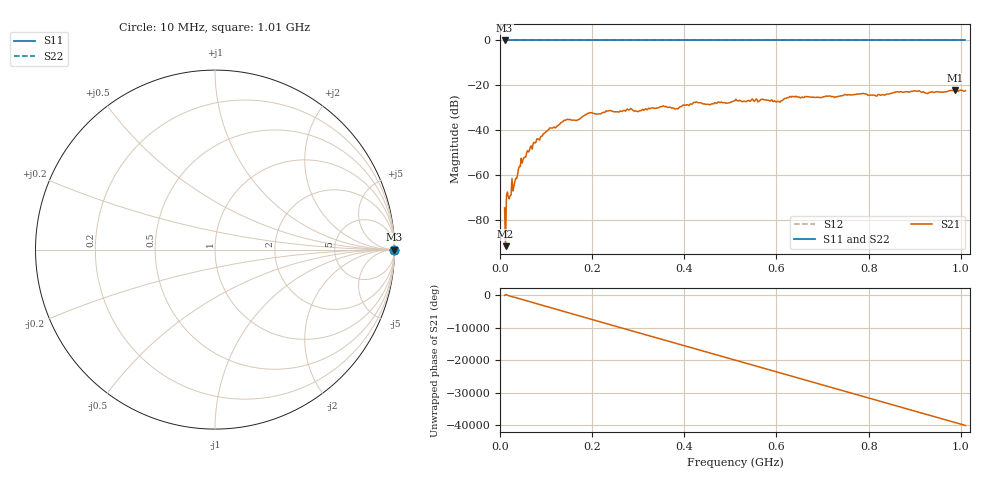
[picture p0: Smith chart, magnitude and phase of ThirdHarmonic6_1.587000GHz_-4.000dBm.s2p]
! 8/16/2025 6:53:43 PM
! C:\ANRITSUVNA\TEMP\TEMP.S2P
! CHANNEL.1
! TR.MEASUREMENT
! RAW.DATA
! RF.CORRECTION.OFF
! AVERAGING.OFF
! IF.BANDWIDTH: 5KHZ
! SWEEPTYPE:  FREQ.SWEEP(Linear)
! Reference Plane Port Info
! PORT:  PORT1  PORT2
! DISTANCE:  0  m  0  m
! TIME:  0  s  0  s
! PHASE.OFFSET:  0  deg.  0  deg.
! LOSS:  0  dB  0  dB
! REF.LOSS:  0  dB  0  dB
! REF.FREQ:  0  Hz  0  Hz
! Power Info
! POWER:  -20  dBm  -20  dBm
! EFF.POWER:  -20  dBm  -20  dBm
! SOURCE.ATTEN:  0  dB  0  dB
! TEST.ATTEN:  0  dB  0  dB
# GHZ S RI R 50.0
! FREQ.GHZ  S11RE  S11IM  S21RE  S21IM  S12RE  S12IM  S22RE  S22IM
!; PortSelection: Port_12
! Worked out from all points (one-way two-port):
!   501 points, 10 MHz to 1.01 GHz, reference 50 ohm
!   highest |S21| = -22.07 dB at 988 MHz (marker M1); lowest = -91.9 dB at 12 MHz (marker M2)
!   lowest |S11| = 0.0 dB at 10 MHz (marker M3)
!   |S11| at or under -10 dB: nowhere
!   |S22| runs from 0.0 to 0.0 dB; largest |S21 - S12| = 1.1
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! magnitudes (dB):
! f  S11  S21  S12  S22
! 10 MHz  0.0  -74.8  0.0  0.0
! 12 MHz  0.0  -91.9  0.0  0.0
! 18 MHz  0.0  -69.8  0.0  0.0
! 32 MHz  0.0  -63.1  0.0  0.0
! 44 MHz  0.0  -56.3  0.0  0.0
! 76 MHz  0.0  -45.8  0.0  0.0
! 106 MHz  0.0  -39.6  0.0  0.0
! 136 MHz  0.0  -36.3  0.0  0.0
! 178 MHz  0.0  -34.1  0.0  0.0
! 196 MHz  0.0  -32.3  0.0  0.0
! 298 MHz  0.0  -31.7  0.0  0.0
! 344 MHz  0.0  -30.1  0.0  0.0
! 382 MHz  0.0  -30.5  0.0  0.0
! 424 MHz  0.0  -27.7  0.0  0.0
! 454 MHz  0.0  -28.7  0.0  0.0
! 510 MHz  0.0  -26.9  0.0  0.0
! 604 MHz  0.0  -27.1  0.0  0.0
! 632 MHz  0.0  -25.3  0.0  0.0
! 678 MHz  0.0  -25.4  0.0  0.0
! 844 MHz  0.0  -23.9  0.0  0.0
! 988 MHz  0.0  -22.1  0.0  0.0
! 1.01 GHz  0.0  -22.5  0.0  0.0
